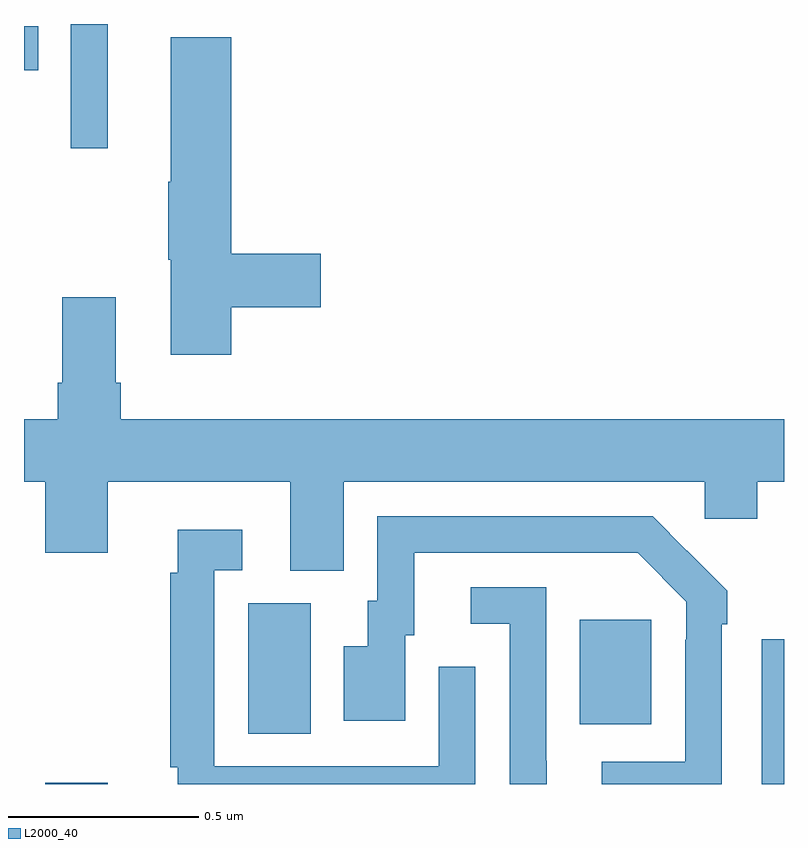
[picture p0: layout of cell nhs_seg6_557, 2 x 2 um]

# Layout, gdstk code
import gdstk
lib = gdstk.Library(unit=1e-6, precision=1e-09)
def R(c, l, rs):  # rectangles x0, y0, x1, y1
    for r in rs: c.add(gdstk.rectangle(r[:2], r[2:], *l))
def P(c, l, *ps):  # polygons
    for p in ps: c.add(gdstk.Polygon(p, *l))
L2000_40 = (2000, 40)

nhs_seg6_557 = lib.new_cell('nhs_seg6_557')
R(nhs_seg6_557, L2000_40, [(117.056,986.5,117.22,986.503), (118.941,986.5,119,986.881), (117.59,986.632,117.754,986.976), (118.463,986.657,118.651,986.932), (117.123,988.173,117.22,988.5), (117,988.378,117.038,988.494)])
P(nhs_seg6_557, L2000_40, [(117.545,987.754),(117.781,987.754),(117.781,987.896),(117.545,987.896),(117.545,988.465),(117.386,988.465),(117.386,988.085),(117.379,988.085),(117.379,987.879),(117.386,987.879),(117.386,987.63),(117.545,987.63)],
  [(117.841,987.296),(118.791,987.296),(118.791,987.198),(118.93,987.198),(118.93,987.296),(119,987.296),(119,987.46),(117.254,987.46),(117.254,987.556),(117.241,987.556),(117.241,987.781),(117.101,987.781),(117.101,987.556),(117.089,987.556),(117.089,987.46),(117,987.46),(117,987.296),(117.056,987.296),(117.056,987.108),(117.22,987.108),(117.22,987.296),(117.701,987.296),(117.701,987.061),(117.841,987.061)],
  [(118.836,986.921),(118.851,986.921),(118.851,987.009),(118.746,987.114),(118.745,987.113),(118.654,987.204),(117.93,987.204),(117.93,986.982),(117.905,986.982),(117.905,986.863),(117.842,986.863),(117.842,986.667),(118.003,986.667),(118.003,986.892),(118.027,986.892),(118.027,987.108),(118.615,987.108),(118.743,986.979),(118.743,986.879),(118.74,986.879),(118.74,986.559),(118.521,986.559),(118.521,986.5),(118.836,986.5)],
  [(118.187,986.554),(118.188,986.554),(118.188,986.809),(118.092,986.809),(118.092,986.547),(117.501,986.547),(117.501,987.063),(117.574,987.063),(117.574,987.169),(117.404,987.169),(117.404,987.056),(117.385,987.056),(117.385,986.544),(117.404,986.544),(117.404,986.5),(118.187,986.5)],
  [(118.375,986.561),(118.374,986.561),(118.374,987.018),(118.176,987.018),(118.176,986.922),(118.278,986.922),(118.278,986.5),(118.375,986.5)])

lib.write_gds('nhs_seg6_557.gds')
